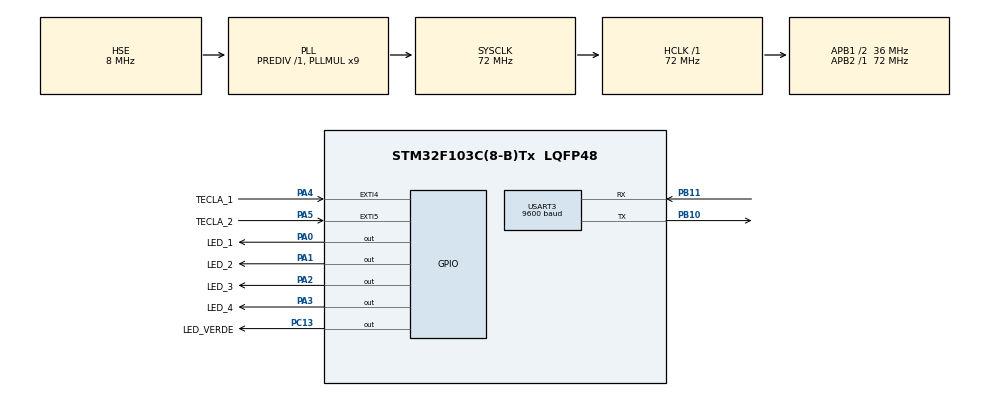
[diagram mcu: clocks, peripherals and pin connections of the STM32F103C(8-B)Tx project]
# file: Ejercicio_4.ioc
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Mcu.Family=STM32F1
Mcu.Name=STM32F103C(8-B)Tx
Mcu.Package=LQFP48
NVIC.PriorityGroup=NVIC_PRIORITYGROUP_4
NVIC.TIM2_IRQn=true\:0\:0\:false\:false\:true\:true\:true\:true
NVIC.USART3_IRQn=true\:0\:0\:false\:false\:true\:true\:true\:true
PA0-WKUP.GPIO_Label=LED_1
PA0-WKUP.Signal=GPIO_Output
PA1.GPIO_Label=LED_2
PA1.Signal=GPIO_Output
PA13.Mode=Serial_Wire
PA13.Signal=SYS_JTMS-SWDIO
PA14.Mode=Serial_Wire
PA14.Signal=SYS_JTCK-SWCLK
PA2.GPIO_Label=LED_3
PA2.Signal=GPIO_Output
PA3.GPIO_Label=LED_4
PA3.Signal=GPIO_Output
PA4.GPIO_Label=TECLA_1
PA4.Signal=GPXTI4
PA5.GPIO_Label=TECLA_2
PA5.Signal=GPXTI5
PB10.Mode=Asynchronous
PB10.Signal=USART3_TX
PB11.Mode=Asynchronous
PB11.Signal=USART3_RX
PC13-TAMPER-RTC.GPIO_Label=LED_VERDE
PC13-TAMPER-RTC.Signal=GPIO_Output
PD0-OSC_IN.Mode=HSE-External-Oscillator
PD0-OSC_IN.Signal=RCC_OSC_IN
PD1-OSC_OUT.Mode=HSE-External-Oscillator
PD1-OSC_OUT.Signal=RCC_OSC_OUT
ProjectManager.HeapSize=0x200
ProjectManager.StackSize=0x400
ProjectManager.TargetToolchain=STM32CubeIDE
RCC.AHBFreq_Value=72000000
RCC.APB1CLKDivider=RCC_HCLK_DIV2
RCC.APB1Freq_Value=36000000
RCC.APB1TimFreq_Value=72000000
RCC.APB2Freq_Value=72000000
RCC.APB2TimFreq_Value=72000000
RCC.HCLKFreq_Value=72000000
RCC.PLLMUL=RCC_PLL_MUL9
RCC.PLLSourceVirtual=RCC_PLLSOURCE_HSE
RCC.SYSCLKFreq_VALUE=72000000
RCC.SYSCLKSource=RCC_SYSCLKSOURCE_PLLCLK
RCC.USBFreq_Value=72000000
TIM2.AutoReloadPreload=TIM_AUTORELOAD_PRELOAD_ENABLE
TIM2.Period=10
TIM2.Prescaler=7200-1
USART3.BaudRate=9600
USART3.VirtualMode=VM_ASYNC
VP_TIM2_VS_ClockSourceINT.Mode=Internal
board=custom

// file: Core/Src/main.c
/* USER CODE BEGIN Header */
/**
  ******************************************************************************
  * @file           : main.c
  * @brief          : Main program body
  ******************************************************************************
  * @attention
  *
  * Copyright (c) 2024 STMicroelectronics.
  * All rights reserved.
  *
  * This software is licensed under terms that can be found in the LICENSE file
  * in the root directory of this software component.
  * If no LICENSE file comes with this software, it is provided AS-IS.
  *
  ******************************************************************************
  */
/* USER CODE END Header */
#include "main.h"
#include "tim.h"
#include "usart.h"
#include "gpio.h"

/* USER CODE BEGIN Includes */
#include <stdio.h>
#include <string.h>
/* USER CODE END Includes */

/* USER CODE BEGIN PTD */
typedef enum commandsEnum {
	COMMAND_LED1_TOGGLE = 'a',
	COMMAND_LED2_TOGGLE = 's',
	COMMAND_LED3_TOGGLE = 'd',
	COMMAND_LED4_TOGGLE = 'f'
} commands_LED_t;

typedef enum BUTTON_STATE {
	TECLA_INACTIVA,
	TECLA_PRESIONADA,
	TECLA_LIBERADA
} button_state_t;

/* USER CODE END PTD */

/* USER CODE BEGIN PV */
//variables de RX
uint8_t dato = 0;

//varibles boton
button_state_t estado_boton [2]= {TECLA_INACTIVA, TECLA_INACTIVA};
uint8_t contador[2] = {0,0};
uint8_t valor_swich_anterior [2]= {0,0};
uint8_t valor_swich [2]= {0,0};
uint8_t TIEMPO_DEBOUNCE = 10;
/* USER CODE END PV */

void SystemClock_Config(void);

/* USER CODE BEGIN 0 */
int __io_putchar(int ch)//habilita la funcion printf
{
	HAL_UART_Transmit(&huart3, (uint8_t *)&ch, 1, 100);
	return ch;
}

//funcion para el debouncing
//pin_tecla solo para puertos A
// numero de tecla para guardar los datos individuales de cada boton en un array
// el tiempo de debounce es de 10ms
void debounce(uint8_t pin_tecla, uint8_t i)
{
	switch (estado_boton[i])
	{
	case TECLA_INACTIVA:
		valor_swich[i]= HAL_GPIO_ReadPin(GPIOA, pin_tecla);//se lee el estado del boton
		if (valor_swich[i] == 1)
		{
			valor_swich_anterior[i] = valor_swich[i];
			estado_boton[i] = TECLA_PRESIONADA;
		}
		break;
	case TECLA_PRESIONADA:
		valor_swich[i] = HAL_GPIO_ReadPin(GPIOA, pin_tecla);//se lee el estado del boton
		if (valor_swich[i] == valor_swich_anterior[i] && contador[i] > TIEMPO_DEBOUNCE)//comparamos valor anterior con el valor actual
		{
			printf("Tecla apretada: TEC%d\n\r", i);
			valor_swich_anterior[i] = 0;
			contador[i] = 0;
			estado_boton[i] = TECLA_LIBERADA;
		}
		else
		{
			contador[i] = 0;
			estado_boton[i] = TECLA_INACTIVA;
		}
		contador[i] = contador[i] + 1;
		break;
	case TECLA_LIBERADA:
		valor_swich[i] = HAL_GPIO_ReadPin(GPIOA, pin_tecla);//se lee el estado del boton
		if (valor_swich[i] == 0)
		{
			printf("Tecla liberada: TEC%d\n\r", i);
			estado_boton[i] = TECLA_INACTIVA;
		}
		break;
	}
}

/* USER CODE END 0 */

int main(void)
{

  /* MCU Configuration--------------------------------------------------------*/

  /* Reset of all peripherals, Initializes the Flash interface and the Systick. */
  HAL_Init();

  /* Configure the system clock */
  SystemClock_Config();

  /* Initialize all configured peripherals */
  MX_GPIO_Init();
  MX_USART3_UART_Init();
  MX_TIM2_Init();
  /* USER CODE BEGIN 2 */
  HAL_UART_Receive_IT(&huart3, &dato, 1);
  HAL_TIM_Base_Start_IT(&htim2);
  /* USER CODE END 2 */

  /* Infinite loop */
  /* USER CODE BEGIN WHILE */
  while (1)
  {
	  switch (dato)
	  {
	  case COMMAND_LED1_TOGGLE:
		  HAL_GPIO_TogglePin(GPIOA, LED_1_Pin);
		  break;

	  case COMMAND_LED2_TOGGLE:
		  HAL_GPIO_TogglePin(GPIOA, LED_2_Pin);
		  break;

	  case COMMAND_LED3_TOGGLE:
		  HAL_GPIO_TogglePin(GPIOA, LED_3_Pin);
		  break;

	  case COMMAND_LED4_TOGGLE:
		  HAL_GPIO_TogglePin(GPIOA, LED_4_Pin);
		  break;
	  }
	   HAL_Delay(200);
    /* USER CODE END WHILE */

  }
}

void SystemClock_Config(void)
{
  RCC_OscInitTypeDef RCC_OscInitStruct = {0};
  RCC_ClkInitTypeDef RCC_ClkInitStruct = {0};

  /** Initializes the RCC Oscillators according to the specified parameters
  * in the RCC_OscInitTypeDef structure.
  */
  RCC_OscInitStruct.OscillatorType = RCC_OSCILLATORTYPE_HSE;
  RCC_OscInitStruct.HSEState = RCC_HSE_ON;
  RCC_OscInitStruct.HSEPredivValue = RCC_HSE_PREDIV_DIV1;
  RCC_OscInitStruct.HSIState = RCC_HSI_ON;
  RCC_OscInitStruct.PLL.PLLState = RCC_PLL_ON;
  RCC_OscInitStruct.PLL.PLLSource = RCC_PLLSOURCE_HSE;
  RCC_OscInitStruct.PLL.PLLMUL = RCC_PLL_MUL9;
  if (HAL_RCC_OscConfig(&RCC_OscInitStruct) != HAL_OK)
  {
    Error_Handler();
  }

  /** Initializes the CPU, AHB and APB buses clocks
  */
  RCC_ClkInitStruct.ClockType = RCC_CLOCKTYPE_HCLK|RCC_CLOCKTYPE_SYSCLK
                              |RCC_CLOCKTYPE_PCLK1|RCC_CLOCKTYPE_PCLK2;
  RCC_ClkInitStruct.SYSCLKSource = RCC_SYSCLKSOURCE_PLLCLK;
  RCC_ClkInitStruct.AHBCLKDivider = RCC_SYSCLK_DIV1;
  RCC_ClkInitStruct.APB1CLKDivider = RCC_HCLK_DIV2;
  RCC_ClkInitStruct.APB2CLKDivider = RCC_HCLK_DIV1;

  if (HAL_RCC_ClockConfig(&RCC_ClkInitStruct, FLASH_LATENCY_2) != HAL_OK)
  {
    Error_Handler();
  }
}

/* USER CODE BEGIN 4 */
void HAL_UART_RxCpltCallback(UART_HandleTypeDef *huart)
{
	if(huart->Instance == USART3)
	{
		HAL_UART_Receive_IT(&huart3, &dato, 1);//recivimos el dato y lo guardamos
	}
}

//interrupcion cada 1ms
void HAL_TIM_PeriodElapsedCallback(TIM_HandleTypeDef *htim)
{
  if(htim->Instance == TIM2)
  {
	  debounce(TECLA_1_Pin, 0);
	  debounce(TECLA_2_Pin, 1);
  }
}

/* USER CODE END 4 */

void Error_Handler(void)
{
  __disable_irq();
  while (1)
  {
  }
}
